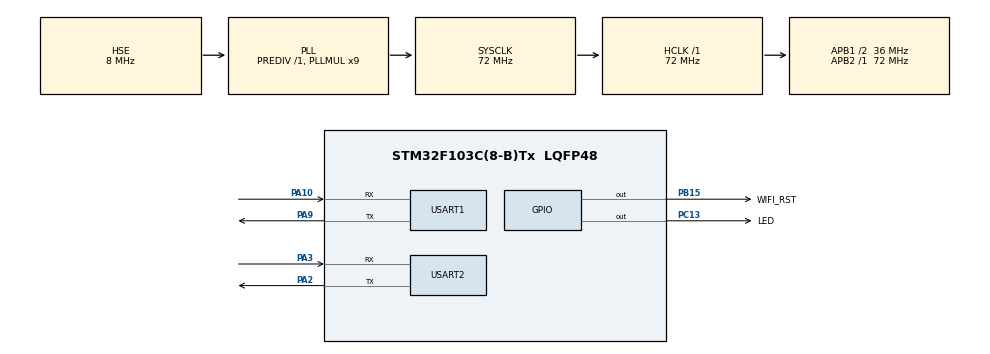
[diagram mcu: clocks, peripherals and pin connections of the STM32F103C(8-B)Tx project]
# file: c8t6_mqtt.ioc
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Mcu.Family=STM32F1
RCC.PLLSourceVirtual=RCC_PLLSOURCE_HSE
PC15-OSC32_OUT.Mode=LSE-External-Oscillator
NVIC.DMA1_Channel6_IRQn=true\:0\:0\:false\:false\:true\:false\:true
PD1-OSC_OUT.Mode=HSE-External-Oscillator
PA10.Mode=Asynchronous
Dma.USART2_RX.0.Direction=DMA_PERIPH_TO_MEMORY
PC13-TAMPER-RTC.Signal=GPIO_Output
PD0-OSC_IN.Signal=RCC_OSC_IN
RCC.APB1CLKDivider=RCC_HCLK_DIV2
PC14-OSC32_IN.Signal=RCC_OSC32_IN
PB15.Signal=GPIO_Output
NVIC.USART2_IRQn=true\:2\:0\:true\:false\:true\:true\:true
RCC.SYSCLKSource=RCC_SYSCLKSOURCE_PLLCLK
ProjectManager.StackSize=0x800
Dma.USART2_RX.0.Mode=DMA_NORMAL
PD1-OSC_OUT.Signal=RCC_OSC_OUT
PA13.Signal=SYS_JTMS-SWDIO
PA3.Mode=Asynchronous
PA9.Mode=Asynchronous
ProjectManager.TargetToolchain=STM32CubeIDE
Dma.USART2_RX.0.Priority=DMA_PRIORITY_LOW
Dma.USART2_RX.0.PeriphDataAlignment=DMA_PDATAALIGN_BYTE
RCC.HCLKFreq_Value=72000000
RCC.APB2TimFreq_Value=72000000
PA9.Signal=USART1_TX
RCC.USBFreq_Value=72000000
PC15-OSC32_OUT.Signal=RCC_OSC32_OUT
RCC.AHBFreq_Value=72000000
PD0-OSC_IN.Mode=HSE-External-Oscillator
board=custom
PC13-TAMPER-RTC.GPIO_Label=LED
RCC.PLLMUL=RCC_PLL_MUL9
RCC.APB2Freq_Value=72000000
Dma.USART2_RX.0.MemDataAlignment=DMA_MDATAALIGN_BYTE
PC14-OSC32_IN.Mode=LSE-External-Oscillator
PB15.GPIO_Label=WIFI_RST
VP_TIM2_VS_ClockSourceINT.Mode=Internal
PA14.Mode=Serial_Wire
PB15.GPIO_Speed=GPIO_SPEED_FREQ_HIGH
NVIC.TIM2_IRQn=true\:1\:0\:true\:false\:true\:true\:true
Dma.USART2_RX.0.Instance=DMA1_Channel6
TIM2.Period=500-1
PA13.Mode=Serial_Wire
Mcu.Name=STM32F103C(8-B)Tx
Dma.USART2_RX.0.MemInc=DMA_MINC_ENABLE
PA2.Signal=USART2_TX
RCC.SYSCLKFreq_VALUE=72000000
Mcu.Package=LQFP48
TIM2.Prescaler=7200
Dma.USART2_RX.0.PeriphInc=DMA_PINC_DISABLE
USART2.VirtualMode=VM_ASYNC
USART1.VirtualMode=VM_ASYNC
PA10.Signal=USART1_RX
PA14.Signal=SYS_JTCK-SWCLK
ProjectManager.HeapSize=0x400
NVIC.PriorityGroup=NVIC_PRIORITYGROUP_4
RCC.APB1TimFreq_Value=72000000
PA2.Mode=Asynchronous
NVIC.USART1_IRQn=true\:3\:0\:true\:false\:true\:true\:true
Dma.Request0=USART2_RX
RCC.APB1Freq_Value=36000000
PA3.Signal=USART2_RX

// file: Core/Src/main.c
/* USER CODE BEGIN Header */
/**
 ******************************************************************************
 * @file           : main.c
 * @brief          : Main program body
 ******************************************************************************
 * @attention
 *
 * <h2><center>&copy; Copyright (c) 2021 STMicroelectronics.
 * All rights reserved.</center></h2>
 *
 * This software component is licensed by ST under BSD 3-Clause license,
 * the "License"; You may not use this file except in compliance with the
 * License. You may obtain a copy of the License at:
 *                        opensource.org/licenses/BSD-3-Clause
 *
 ******************************************************************************
 */
/* USER CODE END Header */
#include "main.h"
#include "dma.h"
#include "tim.h"
#include "usart.h"
#include "gpio.h"

/* USER CODE BEGIN Includes */
#include "esp8266.h"
#include "mqttclient.h"
#include "MQTTPacket.h"
#include "led.h"

/* USER CODE END Includes */

/* USER CODE BEGIN PV */
uint8_t retry_count = 0;

/* USER CODE END PV */

void SystemClock_Config(void);

int main(void) {

	/* MCU Configuration--------------------------------------------------------*/

	/* Reset of all peripherals, Initializes the Flash interface and the Systick. */
	HAL_Init();

	/* Configure the system clock */
	SystemClock_Config();

	/* Initialize all configured peripherals */
	MX_GPIO_Init();
	MX_DMA_Init();
	MX_USART1_UART_Init();
	MX_USART2_UART_Init();
	MX_TIM2_Init();
	/* USER CODE BEGIN 2 */
	u1_printf("(DBG:) System Enable!\r\n");
	LED_Blink(3, 200, LED_Final_Off);

	/* USER CODE END 2 */

	/* Infinite loop */
	/* USER CODE BEGIN WHILE */
	while (1) {
		if (esp8266_SetUpTCPConnection() == _SUCCEED) {
			retry_count = 0;
			break;
		}
		LED_Blink(3, 200, LED_Final_Off);
		retry_count++;
		if (retry_count >= 10) {
			u1_printf("(DBG:) esp8266 connect to server failed\r\n");
			LED_On();
			break;
		}
	}

	if (mqtt_ConnectServer() != 1) {
		u1_printf("(DBG:) Connect to mqtt server failed\r\n");
		LED_On();
	}

	while (1) {
		/* USER CODE END WHILE */

	}
}

void SystemClock_Config(void) {
	RCC_OscInitTypeDef RCC_OscInitStruct = { 0 };
	RCC_ClkInitTypeDef RCC_ClkInitStruct = { 0 };

	/** Initializes the RCC Oscillators according to the specified parameters
	 * in the RCC_OscInitTypeDef structure.
	 */
	RCC_OscInitStruct.OscillatorType = RCC_OSCILLATORTYPE_HSE;
	RCC_OscInitStruct.HSEState = RCC_HSE_ON;
	RCC_OscInitStruct.HSEPredivValue = RCC_HSE_PREDIV_DIV1;
	RCC_OscInitStruct.HSIState = RCC_HSI_ON;
	RCC_OscInitStruct.PLL.PLLState = RCC_PLL_ON;
	RCC_OscInitStruct.PLL.PLLSource = RCC_PLLSOURCE_HSE;
	RCC_OscInitStruct.PLL.PLLMUL = RCC_PLL_MUL9;
	if (HAL_RCC_OscConfig(&RCC_OscInitStruct) != HAL_OK) {
		Error_Handler();
	}
	/** Initializes the CPU, AHB and APB buses clocks
	 */
	RCC_ClkInitStruct.ClockType = RCC_CLOCKTYPE_HCLK | RCC_CLOCKTYPE_SYSCLK
			| RCC_CLOCKTYPE_PCLK1 | RCC_CLOCKTYPE_PCLK2;
	RCC_ClkInitStruct.SYSCLKSource = RCC_SYSCLKSOURCE_PLLCLK;
	RCC_ClkInitStruct.AHBCLKDivider = RCC_SYSCLK_DIV1;
	RCC_ClkInitStruct.APB1CLKDivider = RCC_HCLK_DIV2;
	RCC_ClkInitStruct.APB2CLKDivider = RCC_HCLK_DIV1;

	if (HAL_RCC_ClockConfig(&RCC_ClkInitStruct, FLASH_LATENCY_2) != HAL_OK) {
		Error_Handler();
	}
}

void Error_Handler(void) {
	__disable_irq();
	while (1) {
	}
}

/************************ (C) COPYRIGHT STMicroelectronics *****END OF FILE****/
